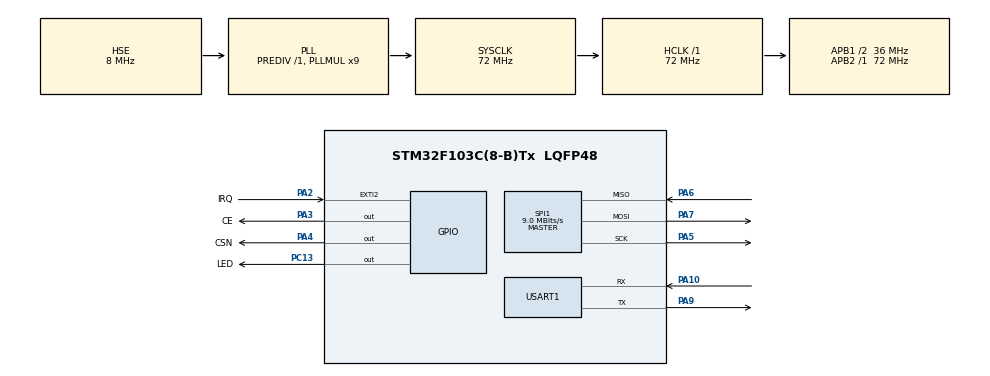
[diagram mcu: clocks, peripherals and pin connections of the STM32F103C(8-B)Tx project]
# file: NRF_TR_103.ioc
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Mcu.Family=STM32F1
Mcu.Name=STM32F103C(8-B)Tx
Mcu.Package=LQFP48
NVIC.EXTI2_IRQn=true\:0\:0\:false\:false\:true\:true\:true\:true
NVIC.PriorityGroup=NVIC_PRIORITYGROUP_4
NVIC.TIM4_IRQn=true\:15\:0\:false\:false\:true\:false\:true\:true
NVIC.TimeBase=TIM4_IRQn
NVIC.TimeBaseIP=TIM4
PA10.Mode=Asynchronous
PA10.Signal=USART1_RX
PA13.Mode=Serial_Wire
PA13.Signal=SYS_JTMS-SWDIO
PA14.Mode=Serial_Wire
PA14.Signal=SYS_JTCK-SWCLK
PA2.GPIO_Label=IRQ
PA2.GPIO_ModeDefaultEXTI=GPIO_MODE_IT_FALLING
PA2.Signal=GPXTI2
PA3.GPIO_Label=CE
PA3.Signal=GPIO_Output
PA4.GPIO_Label=CSN
PA4.Signal=GPIO_Output
PA5.Mode=Full_Duplex_Master
PA5.Signal=SPI1_SCK
PA6.Mode=Full_Duplex_Master
PA6.Signal=SPI1_MISO
PA7.Mode=Full_Duplex_Master
PA7.Signal=SPI1_MOSI
PA9.Mode=Asynchronous
PA9.Signal=USART1_TX
PC13-TAMPER-RTC.GPIO_Label=LED
PC13-TAMPER-RTC.PinState=GPIO_PIN_SET
PC13-TAMPER-RTC.Signal=GPIO_Output
PD0-OSC_IN.Mode=HSE-External-Oscillator
PD0-OSC_IN.Signal=RCC_OSC_IN
PD1-OSC_OUT.Mode=HSE-External-Oscillator
PD1-OSC_OUT.Signal=RCC_OSC_OUT
ProjectManager.HeapSize=0x200
ProjectManager.StackSize=0x400
ProjectManager.TargetToolchain=STM32CubeIDE
RCC.AHBFreq_Value=72000000
RCC.APB1CLKDivider=RCC_HCLK_DIV2
RCC.APB1Freq_Value=36000000
RCC.APB1TimFreq_Value=72000000
RCC.APB2Freq_Value=72000000
RCC.APB2TimFreq_Value=72000000
RCC.HCLKFreq_Value=72000000
RCC.PLLMUL=RCC_PLL_MUL9
RCC.PLLSourceVirtual=RCC_PLLSOURCE_HSE
RCC.SYSCLKFreq_VALUE=72000000
RCC.SYSCLKSource=RCC_SYSCLKSOURCE_PLLCLK
RCC.USBFreq_Value=72000000
SPI1.BaudRatePrescaler=SPI_BAUDRATEPRESCALER_8
SPI1.CalculateBaudRate=9.0 MBits/s
SPI1.Direction=SPI_DIRECTION_2LINES
SPI1.Mode=SPI_MODE_MASTER
SPI1.VirtualType=VM_MASTER
USART1.VirtualMode=VM_ASYNC
VP_SYS_VS_tim4.Mode=TIM4
board=custom

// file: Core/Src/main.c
/* USER CODE BEGIN Header */
/**
  ******************************************************************************
  * @file           : main.c
  * @brief          : Main program body
  ******************************************************************************
  * @attention
  *
  * Copyright (c) 2023 STMicroelectronics.
  * All rights reserved.
  *
  * This software is licensed under terms that can be found in the LICENSE file
  * in the root directory of this software component.
  * If no LICENSE file comes with this software, it is provided AS-IS.
  *
  ******************************************************************************
  */
/* USER CODE END Header */
#include "main.h"

/* USER CODE BEGIN Includes */
#include "string.h"
#include "RF24.h"
/* USER CODE END Includes */

SPI_HandleTypeDef hspi1;

UART_HandleTypeDef huart1;

void SystemClock_Config(void);
static void MX_GPIO_Init(void);
static void MX_SPI1_Init(void);
static void MX_USART1_UART_Init(void);

/* USER CODE BEGIN 0 */
void HAL_GPIO_EXTI_Callback(uint16_t GPIO_Pin)
{
	if(GPIO_Pin	== IRQ_Pin)
	{
		HAL_UART_Transmit(&huart1, (uint8_t*)"IRQ\n", strlen("IRQ\n"), 1000);
	}
}
/* USER CODE END 0 */

int main(void)
{

  /* MCU Configuration--------------------------------------------------------*/

  /* Reset of all peripherals, Initializes the Flash interface and the Systick. */
  HAL_Init();

  /* Configure the system clock */
  SystemClock_Config();

  /* Initialize all configured peripherals */
  MX_GPIO_Init();
  MX_SPI1_Init();
  MX_USART1_UART_Init();
  /* USER CODE BEGIN 2 */
  DWT_Init(); // счётчик для микросекундных пауз

    const uint64_t pipe1 = 0xE8E8F0F0E2LL;

    uint8_t res = isChipConnected(); // проверяет подключён ли модуль к SPI

    char str[64] = {0,};
    snprintf(str, 64, "Connected: %s\n", 1 ? "OK" : "NOT OK");
    HAL_UART_Transmit(&huart1, (uint8_t*)str, strlen(str), 1000);

    res = NRF_Init(); // инициализация

    snprintf(str, 64, "Init: %s\n", res > 0 && res < 255 ? "OK" : "NOT OK");
    HAL_UART_Transmit(&huart1, (uint8_t*)str, strlen(str), 1000);

    ////////////// SET ////////////////
    enableAckPayload();
    //setAutoAck(false);
    //setPayloadSize(6);
    setChannel(200);
    openWritingPipe(pipe1);
    ///////////////////////////////////

    ////////////////////////// Вывод всяких статусов, для работы не нужно /////////////////////////////
    uint8_t status = get_status();
    snprintf(str, 64, "get_status: 0x%02x\n", status);
    HAL_UART_Transmit(&huart1, (uint8_t*)str, strlen(str), 1000);

    status = getPALevel();
    snprintf(str, 64, "getPALevel: 0x%02x  ", status);
    HAL_UART_Transmit(&huart1, (uint8_t*)str, strlen(str), 1000);

    if(status == 0x00)
    {
  	  HAL_UART_Transmit(&huart1, (uint8_t*)"RF24_PA_MIN\n", strlen("RF24_PA_MIN\n"), 1000);
    }
    else if(status == 0x01)
    {
  	  HAL_UART_Transmit(&huart1, (uint8_t*)"RF24_PA_LOW\n", strlen("RF24_PA_LOW\n"), 1000);
    }
    else if(status == 0x02)
    {
  	  HAL_UART_Transmit(&huart1, (uint8_t*)"RF24_PA_HIGH\n", strlen("RF24_PA_HIGH\n"), 1000);
    }
    else if(status == 0x03)
    {
  	  HAL_UART_Transmit(&huart1, (uint8_t*)"RF24_PA_MAX\n", strlen("RF24_PA_MAX\n"), 1000);
    }

    status = getChannel();
    snprintf(str, 64, "getChannel: 0x%02x № %d\n", status, status);
    HAL_UART_Transmit(&huart1, (uint8_t*)str, strlen(str), 1000);

    status = getDataRate();
    snprintf(str, 64, "getDataRate: 0x%02x  ", status);
    HAL_UART_Transmit(&huart1, (uint8_t*)str, strlen(str), 1000);

    if(status == 0x02)
    {
  	  HAL_UART_Transmit(&huart1, (uint8_t*)"RF24_250KBPS\n", strlen("RF24_250KBPS\n"), 1000);
    }
    else if(status == 0x01)
    {
  	  HAL_UART_Transmit(&huart1, (uint8_t*)"RF24_2MBPS\n", strlen("RF24_2MBPS\n"), 1000);
    }
    else
    {
  	  HAL_UART_Transmit(&huart1, (uint8_t*)"RF24_1MBPS\n", strlen("RF24_1MBPS\n"), 1000);
    }

    status = getPayloadSize();
    snprintf(str, 64, "getPayloadSize: %d\n", status);
    HAL_UART_Transmit(&huart1, (uint8_t*)str, strlen(str), 1000);

    status = getCRCLength();
    snprintf(str, 64, "getCRCLength: 0x%02x  ", status);
    HAL_UART_Transmit(&huart1, (uint8_t*)str, strlen(str), 1000);

    if(status == 0x00)
    {
  	  HAL_UART_Transmit(&huart1, (uint8_t*)"RF24_CRC_DISABLED\n", strlen("RF24_CRC_DISABLED\n"), 1000);
    }
    else if(status == 0x01)
    {
  	  HAL_UART_Transmit(&huart1, (uint8_t*)"RF24_CRC_8\n", strlen("RF24_CRC_8\n"), 1000);
    }
    else if(status == 0x02)
    {
  	  HAL_UART_Transmit(&huart1, (uint8_t*)"RF24_CRC_16\n", strlen("RF24_CRC_16\n"), 1000);
    }
    /////////////////////////////////////////////////////////////////////////////////////////////////////

    maskIRQ(true, true, true); // маскируем прерывания

  /* USER CODE END 2 */

  /* Infinite loop */
  while (1)
  {

    /* USER CODE BEGIN 3 */
	  ///////////////////////////////////// ПЕРЕДАЧА /////////////////////////////////////////////
	 	  uint8_t nrf_data[32] = {0,}; // буфер указываем максимального размера
	 	  nrf_data[0] = 77;
	 	  nrf_data[1] = 86;
	 	  nrf_data[2] = 97;

	 	  uint8_t remsg = 0; // переменная для приёма байта пришедшего вместе с ответом

	 	  if(write(&nrf_data, strlen((const char*)nrf_data))) // отправляем данные
	 	  {
	 		if(isAckPayloadAvailable()) // проверяем пришло ли что-то вместе с ответом
	 		{
	 			read(&remsg, sizeof(remsg));
	 			HAL_GPIO_TogglePin(LED_GPIO_Port, LED_Pin);
	 			snprintf(str, 64, "Ack: %d\n", remsg);
	 			HAL_UART_Transmit(&huart1, (uint8_t*)str, strlen(str), 1000);
	 		}
	 	  }
	 	  else HAL_UART_Transmit(&huart1, (uint8_t*)"Not write\n", strlen("Not write\n"), 1000);

	 	  HAL_Delay(100);
  }
  /* USER CODE END 3 */
}

void SystemClock_Config(void)
{
  RCC_OscInitTypeDef RCC_OscInitStruct = {0};
  RCC_ClkInitTypeDef RCC_ClkInitStruct = {0};

  /** Initializes the RCC Oscillators according to the specified parameters
  * in the RCC_OscInitTypeDef structure.
  */
  RCC_OscInitStruct.OscillatorType = RCC_OSCILLATORTYPE_HSE;
  RCC_OscInitStruct.HSEState = RCC_HSE_ON;
  RCC_OscInitStruct.HSEPredivValue = RCC_HSE_PREDIV_DIV1;
  RCC_OscInitStruct.HSIState = RCC_HSI_ON;
  RCC_OscInitStruct.PLL.PLLState = RCC_PLL_ON;
  RCC_OscInitStruct.PLL.PLLSource = RCC_PLLSOURCE_HSE;
  RCC_OscInitStruct.PLL.PLLMUL = RCC_PLL_MUL9;
  if (HAL_RCC_OscConfig(&RCC_OscInitStruct) != HAL_OK)
  {
    Error_Handler();
  }

  /** Initializes the CPU, AHB and APB buses clocks
  */
  RCC_ClkInitStruct.ClockType = RCC_CLOCKTYPE_HCLK|RCC_CLOCKTYPE_SYSCLK
                              |RCC_CLOCKTYPE_PCLK1|RCC_CLOCKTYPE_PCLK2;
  RCC_ClkInitStruct.SYSCLKSource = RCC_SYSCLKSOURCE_PLLCLK;
  RCC_ClkInitStruct.AHBCLKDivider = RCC_SYSCLK_DIV1;
  RCC_ClkInitStruct.APB1CLKDivider = RCC_HCLK_DIV2;
  RCC_ClkInitStruct.APB2CLKDivider = RCC_HCLK_DIV1;

  if (HAL_RCC_ClockConfig(&RCC_ClkInitStruct, FLASH_LATENCY_2) != HAL_OK)
  {
    Error_Handler();
  }
}

static void MX_SPI1_Init(void)
{

  /* SPI1 parameter configuration*/
  hspi1.Instance = SPI1;
  hspi1.Init.Mode = SPI_MODE_MASTER;
  hspi1.Init.Direction = SPI_DIRECTION_2LINES;
  hspi1.Init.DataSize = SPI_DATASIZE_8BIT;
  hspi1.Init.CLKPolarity = SPI_POLARITY_LOW;
  hspi1.Init.CLKPhase = SPI_PHASE_1EDGE;
  hspi1.Init.NSS = SPI_NSS_SOFT;
  hspi1.Init.BaudRatePrescaler = SPI_BAUDRATEPRESCALER_8;
  hspi1.Init.FirstBit = SPI_FIRSTBIT_MSB;
  hspi1.Init.TIMode = SPI_TIMODE_DISABLE;
  hspi1.Init.CRCCalculation = SPI_CRCCALCULATION_DISABLE;
  hspi1.Init.CRCPolynomial = 10;
  if (HAL_SPI_Init(&hspi1) != HAL_OK)
  {
    Error_Handler();
  }

}

static void MX_USART1_UART_Init(void)
{

  huart1.Instance = USART1;
  huart1.Init.BaudRate = 115200;
  huart1.Init.WordLength = UART_WORDLENGTH_8B;
  huart1.Init.StopBits = UART_STOPBITS_1;
  huart1.Init.Parity = UART_PARITY_NONE;
  huart1.Init.Mode = UART_MODE_TX_RX;
  huart1.Init.HwFlowCtl = UART_HWCONTROL_NONE;
  huart1.Init.OverSampling = UART_OVERSAMPLING_16;
  if (HAL_UART_Init(&huart1) != HAL_OK)
  {
    Error_Handler();
  }

}

static void MX_GPIO_Init(void)
{
  GPIO_InitTypeDef GPIO_InitStruct = {0};

  /* GPIO Ports Clock Enable */
  __HAL_RCC_GPIOC_CLK_ENABLE();
  __HAL_RCC_GPIOD_CLK_ENABLE();
  __HAL_RCC_GPIOA_CLK_ENABLE();

  /*Configure GPIO pin Output Level */
  HAL_GPIO_WritePin(LED_GPIO_Port, LED_Pin, GPIO_PIN_SET);

  /*Configure GPIO pin Output Level */
  HAL_GPIO_WritePin(GPIOA, CE_Pin|CSN_Pin, GPIO_PIN_RESET);

  /*Configure GPIO pin : LED_Pin */
  GPIO_InitStruct.Pin = LED_Pin;
  GPIO_InitStruct.Mode = GPIO_MODE_OUTPUT_PP;
  GPIO_InitStruct.Pull = GPIO_NOPULL;
  GPIO_InitStruct.Speed = GPIO_SPEED_FREQ_LOW;
  HAL_GPIO_Init(LED_GPIO_Port, &GPIO_InitStruct);

  /*Configure GPIO pin : IRQ_Pin */
  GPIO_InitStruct.Pin = IRQ_Pin;
  GPIO_InitStruct.Mode = GPIO_MODE_IT_FALLING;
  GPIO_InitStruct.Pull = GPIO_NOPULL;
  HAL_GPIO_Init(IRQ_GPIO_Port, &GPIO_InitStruct);

  /*Configure GPIO pins : CE_Pin CSN_Pin */
  GPIO_InitStruct.Pin = CE_Pin|CSN_Pin;
  GPIO_InitStruct.Mode = GPIO_MODE_OUTPUT_PP;
  GPIO_InitStruct.Pull = GPIO_NOPULL;
  GPIO_InitStruct.Speed = GPIO_SPEED_FREQ_LOW;
  HAL_GPIO_Init(GPIOA, &GPIO_InitStruct);

  /* EXTI interrupt init*/
  HAL_NVIC_SetPriority(EXTI2_IRQn, 0, 0);
  HAL_NVIC_EnableIRQ(EXTI2_IRQn);

}

void HAL_TIM_PeriodElapsedCallback(TIM_HandleTypeDef *htim)
{
  if (htim->Instance == TIM4) {
    HAL_IncTick();
  }
}

void Error_Handler(void)
{
  __disable_irq();
  while (1)
  {
  }
}
